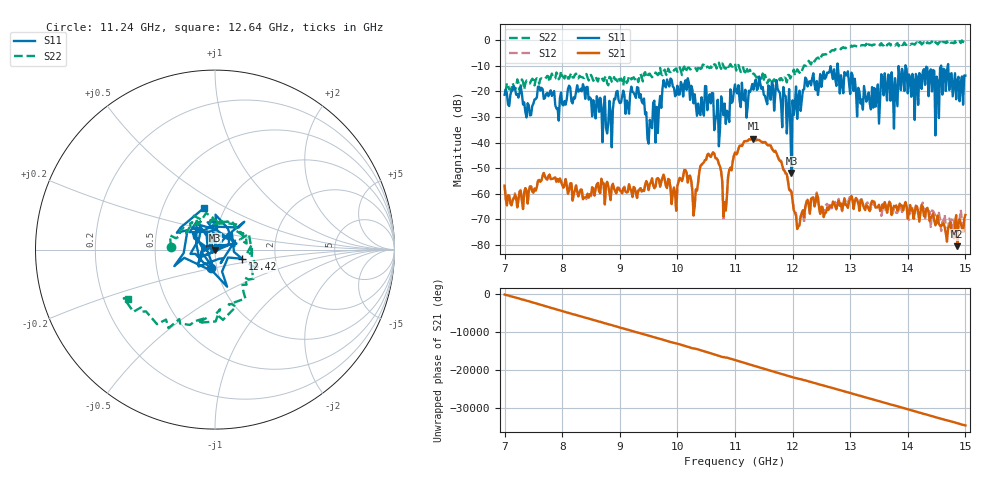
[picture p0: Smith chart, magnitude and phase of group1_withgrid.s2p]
! 4/11/2025 3:13:32 PM
! C:\ANRITSUVNA\LELEC2350\LAB1_2025\GROUP1_WITHGRID.S2P
! CHANNEL.1
! TR.MEASUREMENT
! CORRECTED.DATA
! RF.CORRECTION: FULL.TWO.PORT.CAL.PORT.1.2
! AVERAGING.OFF
! IF.BANDWIDTH: 300HZ
! SWEEPTYPE:  FREQ.SWEEP(Linear)
! Reference Plane Port Info
! PORT:  PORT1  PORT2
! DISTANCE:  0  m  0  m
! TIME:  0  s  0  s
! PHASE.OFFSET:  0 °  0 °
! LOSS:  0  dB  0  dB
! REF.LOSS:  0  dB  0  dB
! REF.FREQ:  0  Hz  0  Hz
! Power Info
! POWER:  5  dBm  5  dBm
! EFF.POWER:  5  dBm  5  dBm
# GHZ S RI R 50.0
! FREQ.GHZ  S11RE  S11IM  S21RE  S21IM  S12RE  S12IM  S22RE  S22IM
!; PortSelection: Port_12
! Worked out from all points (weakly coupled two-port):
!   401 points, 7 GHz to 15 GHz, reference 50 ohm
!   highest |S21| = -38.43 dB at 11.32 GHz (marker M1); lowest = -80.4 dB at 14.86 GHz (marker M2)
!   lowest |S11| = -51.8 dB at 11.98 GHz (marker M3), VSWR 1.01, Z = 50 - j0.255 ohm
!   |S11| at or under -10 dB: start of sweep to 12.78 GHz; 12.78 GHz to 13.96 GHz (1.176 GHz wide, 8.79 % of centre); 13.96 GHz to 14.58 GHz (616.7 MHz wide, 4.32 % of centre)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
!   |S22| runs from -19.8 to -0.2 dB; largest |S21 - S12| = 0.00056
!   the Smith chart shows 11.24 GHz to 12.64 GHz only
!   S11 on the Smith chart (normalised r, x): 11.24 GHz: 0.94, -0.19; 12.42 GHz: 1.35, -0.14; 12.64 GHz: 0.80, +0.39
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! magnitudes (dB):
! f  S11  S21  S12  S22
! 7 GHz  -21.4  -56.8  -56.9  -19.8
! 8.34 GHz  -20.0  -58.4  -58.6  -14.5
! 8.82 GHz  -23.7  -59.5  -59.5  -14.4
! 8.94 GHz  -20.1  -59.8  -59.9  -15.4
! 9.34 GHz  -22.5  -58.6  -58.2  -14.5
! 9.52 GHz  -31.1  -56.5  -56.6  -13.1
! 9.68 GHz  -26.3  -54.4  -54.4  -13.2
! 9.86 GHz  -18.1  -54.5  -54.5  -12.4
! 10.3 GHz  -21.2  -64.9  -64.4  -11.2
! 10.64 GHz  -35.2  -44.3  -44.3  -9.4
! 10.82 GHz  -24.8  -63.3  -63.7  -11.0
! 11 GHz  -17.3  -43.8  -44.1  -9.1
! 11.24 GHz  -19.8  -38.7  -38.7  -12.2
! 11.32 GHz  -19.4  -38.4  -38.6  -13.1
! 11.98 GHz  -51.8  -59.2  -59.5  -13.7
! 12.1 GHz  -22.4  -72.7  -70.8  -12.0
! 12.34 GHz  -14.9  -61.6  -61.4  -7.9
! 12.42 GHz  -16.0  -59.9  -59.5  -7.1
! 12.64 GHz  -12.4  -65.0  -64.4  -5.0
! 13.68 GHz  -14.0  -63.1  -63.8  -1.3
! 14.86 GHz  -15.9  -80.4  -70.8  -0.6
! 15 GHz  -13.9  -68.2  -69.9  -0.8
